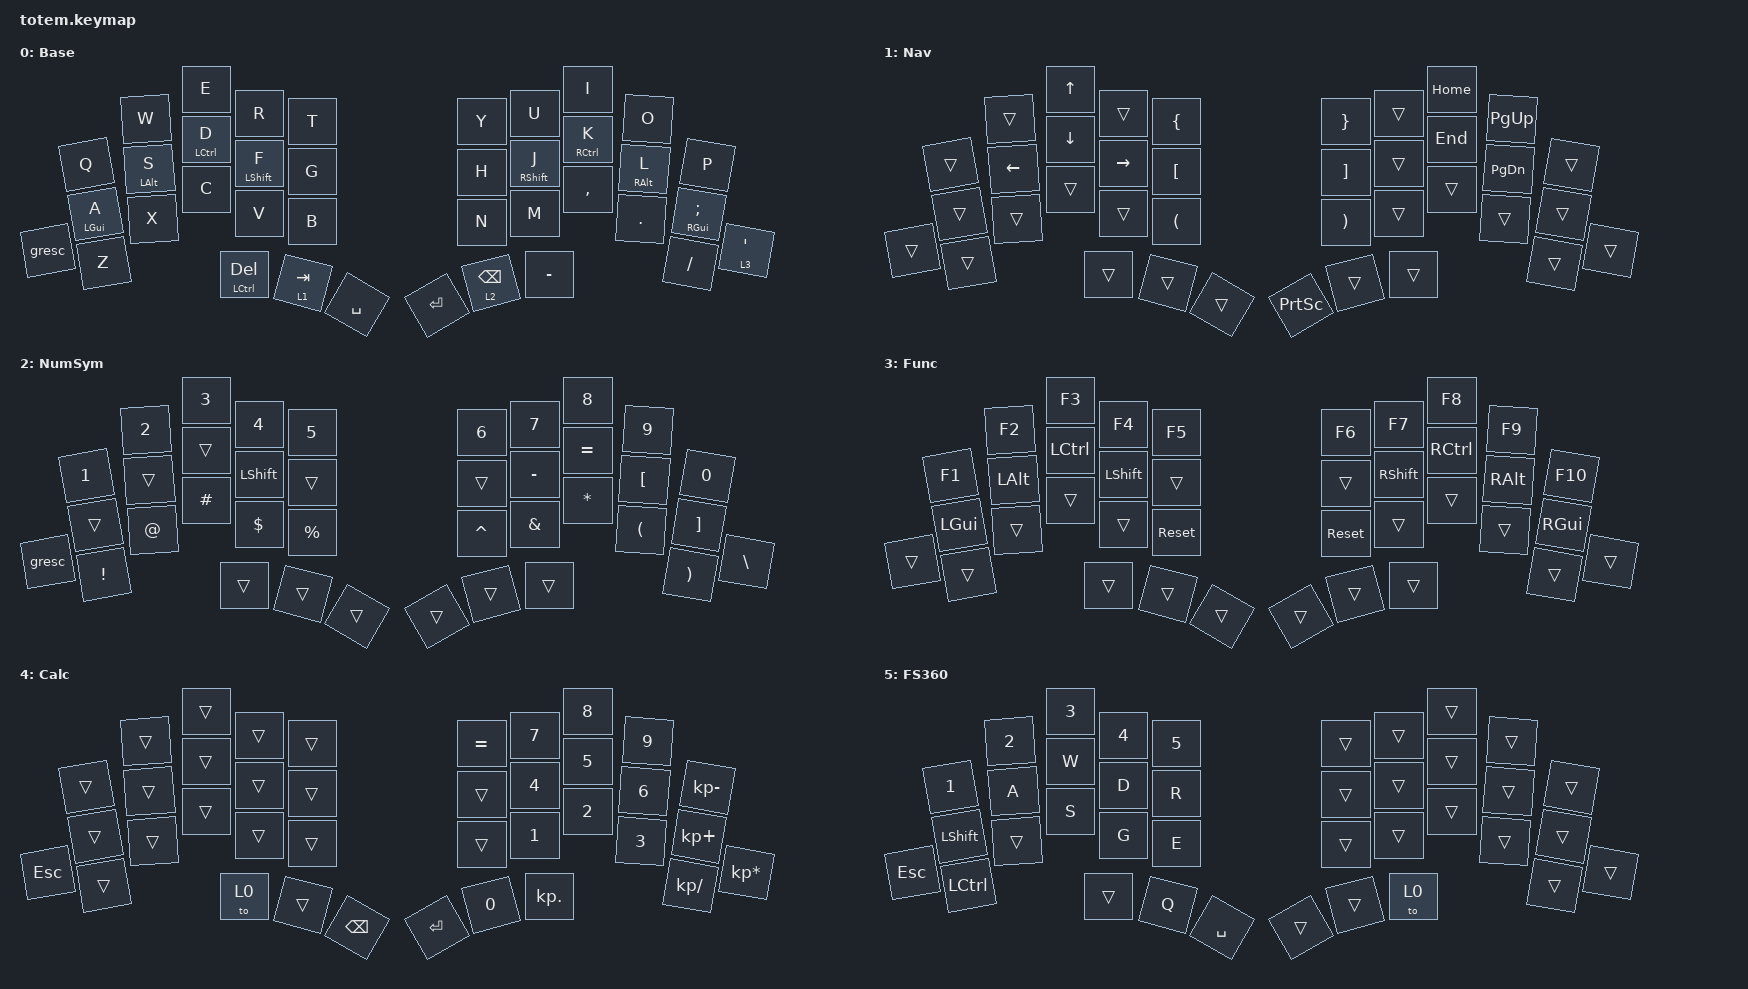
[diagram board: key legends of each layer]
//
//                                                        ▀▀▀▀▀     ▀▀▀▀▀          ▀▀█▀▀
//                                                        ▄▀▀▀▄  ▄  ▄▀▀▀▄  ▄  ▄▀▀▀▄  █  ▄▀▀▀▄
//                                                        █   █  █  █   █  █  █   █  █  █   █
//                                                         ▀▀▀   █   ▀▀▀   █   ▀▀▀   ▀   ▀▀▀
//                                                               █      ▄▄▄█▄▄▄    █   █  
//                                                               ▀      █  █  █     █▄█
//                                                             ▀▀▀▀▀    █  █  █      ▀
//                                                                      ▀  ▀  ▀
//
// ▄▄▄▄▄▄▄▄▄▄▄▄▄▄▄▄▄▄▄▄▄▄▄▄▄▄▄▄▄▄▄▄▄▄▄▄▄▄▄▄▄▄▄▄▄▄▄▄▄▄▄▄▄▄▄▄▄▄▄▄▄▄▄▄▄▄▄▄▄▄▄▄▄▄▄▄▄▄▄▄▄▄▄▄▄▄▄▄▄▄▄▄▄▄▄▄▄▄▄▄▄▄▄▄▄▄▄▄▄▄▄▄▄▄▄▄▄▄▄▄▄▄▄▄▄▄▄▄▄▄▄▄▄▄▄▄▄▄▄▄▄▄▄▄▄▄▄▄▄
       

#include <behaviors.dtsi>
#include <dt-bindings/zmk/keys.h>
#include <dt-bindings/zmk/bt.h>
#include <dt-bindings/zmk/outputs.h>

#define Base        0
#define Nav         1
#define NumSym      2
#define Func        3
#define Calc        4
#define FS360       5

&mt {
    quick-tap-ms = <100>;
    global-quick-tap;
    flavor = "tap-preferred";
    tapping-term-ms = <170>;
};

&lt {
    tapping-term-ms = <240>;
    flavor = "balanced";
    quick-tap-ms = <150>;
};

&gresc {
};

/ {
    behaviors {
        hm: homerow_mods {
            compatible = "zmk,behavior-hold-tap";
            label = "HOMEROW_MODS";
            #binding-cells = <2>;
            flavor = "tap-preferred";
            tapping-term-ms = <200>;
            quick-tap-ms = <125>;
            global-quick-tap;
            bindings = <&kp>, <&kp>;
        };
    };

    combos {
        compatible = "zmk,combos";

        Copi {
            bindings = <&knCopy>;
            key-positions = <22 23>;
            layers = <0>;
        };

        Pasta {
            bindings = <&knPaste>;
            key-positions = <23 24>;
            layers = <0>;
        };

        toCalc {
            bindings = <&to 4>;
            key-positions = <32 37>;
            layers = <0>;
        };

        toFS360 {
            bindings = <&to 5>;
            key-positions = <21 30>;
            layers = <0>;
        };
    };

    macros {
        knCopy: kncopy {
            compatible = "zmk,behavior-macro";
            #binding-cells = <0>;
            bindings = <&kp LC(C)>;
            label = "KNCOPY";
        };

        knPaste: knpaste {
            compatible = "zmk,behavior-macro";
            #binding-cells = <0>;
            bindings = <&kp LC(V)>;
            label = "KNPASTE";
        };
    };

    keymap {
        compatible = "zmk,keymap";

        Base {
            display-name = "Base";
            bindings = <
        &kp Q       &kp W       &kp E          &kp R         &kp T        &kp Y    &kp U        &kp I        &kp O       &kp P
        &hm LGUI A  &hm LALT S  &hm LCTRL D    &hm LSHIFT F  &kp G        &kp H    &hm RSHFT J  &hm RCTRL K  &hm RALT L  &hm RGUI SEMICOLON
&gresc  &kp Z       &kp X       &kp C          &kp V         &kp B        &kp N    &kp M        &kp COMMA    &kp DOT     &kp SLASH           &lt 3 APOSTROPHE
                                &mt LCTRL DEL  &lt 1 TAB     &kp SPACE    &kp RET  &lt 2 BSPC   &kp MINUS
            >;
        };

        Nav {
            display-name = "Nav";
            bindings = <
        &trans  &trans    &kp UP_ARROW  &trans     &kp LBRC    &kp RBRC         &trans  &kp HOME  &kp PAGE_UP    &trans
        &trans  &kp LEFT  &kp DOWN      &kp RIGHT  &kp LBKT    &kp RBKT         &trans  &kp END   &kp PAGE_DOWN  &trans
&trans  &trans  &trans    &trans        &trans     &kp LPAR    &kp RPAR         &trans  &trans    &trans         &trans  &trans
                          &trans        &trans     &trans      &kp PRINTSCREEN  &trans  &trans
            >;
        };

        NumSym {
            display-name = "NumSym";
            bindings = <
        &kp NUMBER_1     &kp NUMBER_2  &kp NUMBER_3  &kp NUMBER_4    &kp NUMBER_5    &kp NUMBER_6  &kp NUMBER_7   &kp NUMBER_8  &kp NUMBER_9          &kp NUMBER_0
        &trans           &trans        &trans        &kp LEFT_SHIFT  &trans          &trans        &kp MINUS      &kp EQUAL     &kp LEFT_BRACKET      &kp RIGHT_BRACKET
&gresc  &kp EXCLAMATION  &kp AT_SIGN   &kp HASH      &kp DOLLAR      &kp PERCENT     &kp CARET     &kp AMPERSAND  &kp ASTERISK  &kp LEFT_PARENTHESIS  &kp RIGHT_PARENTHESIS  &kp BACKSLASH
                                       &trans        &trans          &trans          &trans        &trans         &trans
            >;
        };

        Func {
            display-name = "Func";
            bindings = <
        &kp F1        &kp F2        &kp F3            &kp F4          &kp F5        &kp F6      &kp F7           &kp F8             &kp F9         &kp F10
        &kp LEFT_GUI  &kp LEFT_ALT  &kp LEFT_CONTROL  &kp LEFT_SHIFT  &trans        &trans      &kp RIGHT_SHIFT  &kp RIGHT_CONTROL  &kp RIGHT_ALT  &kp RIGHT_GUI
&trans  &trans        &trans        &trans            &trans          &sys_reset    &sys_reset  &trans           &trans             &trans         &trans         &trans
                                    &trans            &trans          &trans        &trans      &trans           &trans
            >;
        };

        Calc {
            display-name = "Calc";
            bindings = <
            &trans  &trans  &trans  &trans  &trans           &kp EQUAL  &kp N7  &kp N8      &kp N9  &kp KP_MINUS
            &trans  &trans  &trans  &trans  &trans           &trans     &kp N4  &kp N5      &kp N6  &kp KP_PLUS
&kp ESCAPE  &trans  &trans  &trans  &trans  &trans           &trans     &kp N1  &kp N2      &kp N3  &kp KP_DIVIDE  &kp KP_MULTIPLY
                            &to 0   &trans  &kp BACKSPACE    &kp ENTER  &kp N0  &kp KP_DOT
            >;
        };

        FS360 {
            display-name = "FS360";
            bindings = <
            &kp NUMBER_1  &kp NUMBER_2  &kp NUMBER_3  &kp NUMBER_4  &kp NUMBER_5    &trans  &trans  &trans  &trans  &trans
            &kp LSHFT     &kp A         &kp W         &kp D         &kp R           &trans  &trans  &trans  &trans  &trans
&kp ESCAPE  &kp LCTRL     &trans        &kp S         &kp G         &kp E           &trans  &trans  &trans  &trans  &trans  &trans
                                        &trans        &kp Q         &kp SPACE       &trans  &trans  &to 0
            >;
        };
    };
};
